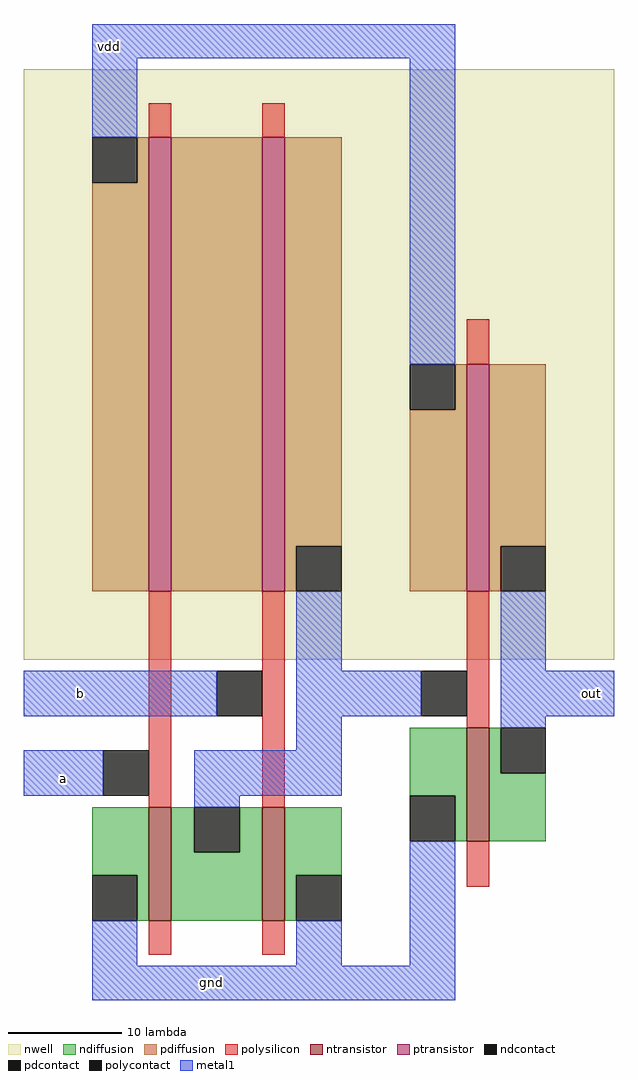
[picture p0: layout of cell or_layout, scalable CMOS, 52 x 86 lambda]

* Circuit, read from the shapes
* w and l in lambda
.subckt or_layout a b gnd out vdd
M1 n1 a gnd VSUBS nfet w=10 l=2
M2 gnd b n1 VSUBS nfet w=10 l=2
M3 out n1 gnd VSUBS nfet w=10 l=2
M4 n2 a vdd n3 pfet w=40 l=2
M5 n1 b n2 n3 pfet w=40 l=2
M6 out n1 vdd n3 pfet w=20 l=2
.ends

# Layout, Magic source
magic
tech scmos
<< nwell >>
rect 1 -74 53 -22
<< ntransistor >>
rect 12 -97 14 -87
rect 22 -97 24 -87
rect 40 -90 42 -80
<< ptransistor >>
rect 12 -68 14 -28
rect 22 -68 24 -28
rect 40 -68 42 -48
<< ndiffusion >>
rect 35 -86 40 -80
rect 7 -93 12 -87
rect 11 -97 12 -93
rect 14 -91 16 -87
rect 20 -91 22 -87
rect 14 -97 22 -91
rect 24 -93 29 -87
rect 39 -90 40 -86
rect 42 -84 43 -80
rect 42 -90 47 -84
rect 24 -97 25 -93
<< pdiffusion >>
rect 11 -32 12 -28
rect 7 -68 12 -32
rect 14 -68 22 -28
rect 24 -64 29 -28
rect 24 -68 25 -64
rect 39 -52 40 -48
rect 35 -68 40 -52
rect 42 -64 47 -48
rect 42 -68 43 -64
<< ndcontact >>
rect 7 -97 11 -93
rect 16 -91 20 -87
rect 35 -90 39 -86
rect 43 -84 47 -80
rect 25 -97 29 -93
<< pdcontact >>
rect 7 -32 11 -28
rect 25 -68 29 -64
rect 35 -52 39 -48
rect 43 -68 47 -64
<< polysilicon >>
rect 12 -28 14 -25
rect 22 -28 24 -25
rect 40 -48 42 -44
rect 12 -87 14 -68
rect 22 -87 24 -68
rect 40 -80 42 -68
rect 40 -94 42 -90
rect 12 -100 14 -97
rect 22 -100 24 -97
<< polycontact >>
rect 8 -86 12 -82
rect 18 -79 22 -75
rect 36 -79 40 -75
<< metal1 >>
rect 7 -21 39 -18
rect 7 -28 11 -21
rect 35 -48 39 -21
rect 25 -75 29 -68
rect 43 -75 47 -68
rect 1 -79 18 -75
rect 25 -79 36 -75
rect 43 -79 53 -75
rect 25 -82 29 -79
rect 1 -86 8 -82
rect 16 -86 29 -82
rect 43 -80 47 -79
rect 16 -87 20 -86
rect 7 -101 11 -97
rect 25 -101 29 -97
rect 35 -101 39 -90
rect 7 -104 39 -101
<< labels >>
rlabel metal1 17 -103 18 -102 1 gnd
rlabel metal1 8 -21 9 -19 5 vdd
rlabel metal1 5 -78 7 -76 3 b
rlabel metal1 4 -85 5 -84 3 a
rlabel metal1 50 -78 52 -76 7 out
<< end >>
